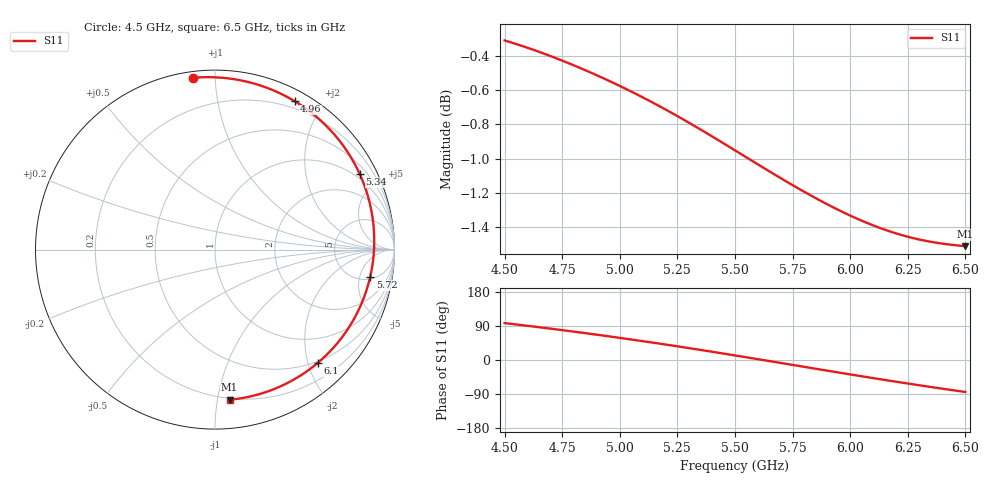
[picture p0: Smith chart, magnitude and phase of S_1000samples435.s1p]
! TOUCHSTONE file generated by CST MICROWAVE STUDIO
! Date and time: Fri Oct 28 04:15:16 2022
! Project name: L.cst
! Parameters = {Di=1.27; Epsilon_r=1.56; InnerDiameter=1.27; Length=2; Lf=10; Lg=60; OuterConductorThickness=0.2921; OuterDiameter=3.6; Wf=3; Wp=41.2; de=1.5; df=6.8; g=0.8; gx=4.64724; gy=3.93645; h=2.34; hf=1.524; px=10.9787; py=8.79595; w=9.7; wx=6.33147; wy=4.8595}
! Header version: 2018
! Port assignment regex: !\s*Touchstone port\s*([0-9]+)\s*=\s*(CST MWS port|CST DS port)\s*([0-9]+|Zmin|Zmax)\s*\(\"(.*)\"\)(\s*mode\s*([0-9]+))?.*
! Touchstone port assignment:
! Touchstone port 1 = CST MWS port 1 ("")
# GHz S DB R 50
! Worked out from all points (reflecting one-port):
!   101 points, 4.5 GHz to 6.5 GHz, reference 50 ohm
!   lowest |S11| = -1.5 dB at 6.5 GHz (marker M1), VSWR 11.52, Z = 9.52 - j54.2 ohm
!   phase of S11 starts at 97 deg and turns -182 deg over the sweep
!   S11 on the Smith chart (normalised r, x): 4.5 GHz: 0.03, +0.88; 4.96 GHz: 0.12, +1.66; 5.34 GHz: 0.80, +3.92; 5.72 GHz: 5.56, -7.34; 6.1 GHz: 0.47, -2.17; 6.5 GHz: 0.19, -1.08
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4.5  -0.31 97.4
4.58  -0.34 91.7
4.64  -0.37 87.2
4.76  -0.43 78.0
4.86  -0.49 70.1
4.96  -0.55 61.8
5  -0.58 58.4
5.06  -0.62 53.2
5.12  -0.66 47.9
5.18  -0.70 42.5
5.26  -0.76 35.1
5.34  -0.82 27.6
5.42  -0.89 19.9
5.5  -0.95 12.1
5.6  -1.03 2.1
5.66  -1.08 -3.9
5.72  -1.13 -9.9
5.76  -1.16 -14.0
5.82  -1.21 -20.0
5.88  -1.25 -26.1
6  -1.33 -38.0
6.1  -1.39 -47.8
6.18  -1.43 -55.5
6.26  -1.46 -63.0
6.32  -1.48 -68.5
6.38  -1.49 -73.9
6.44  -1.50 -79.2
6.5  -1.51 -84.4
